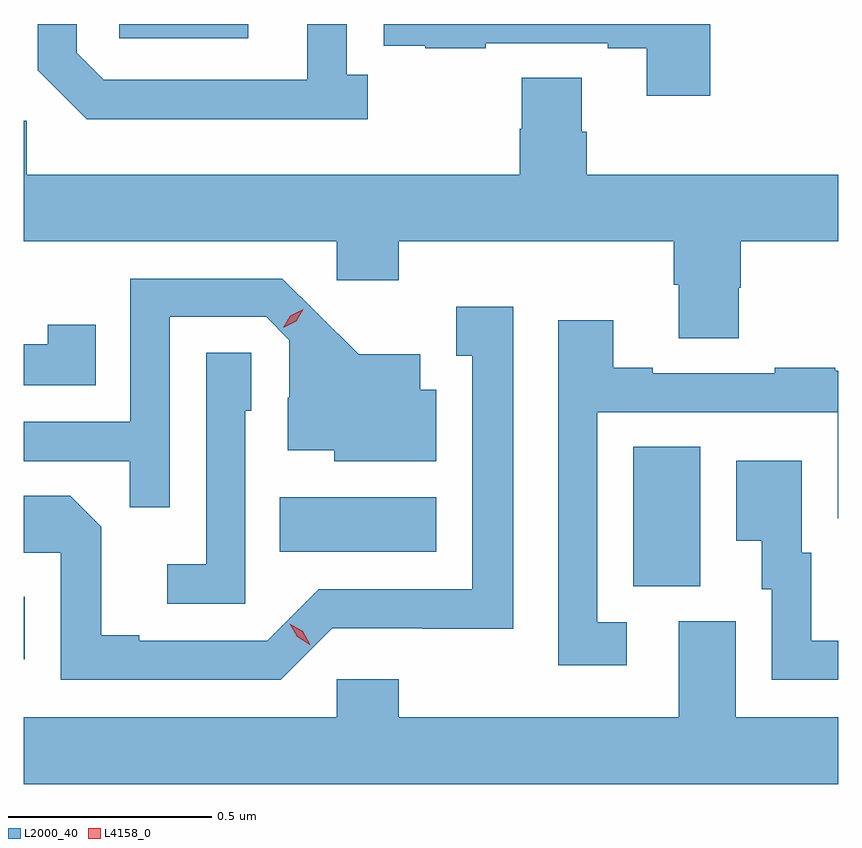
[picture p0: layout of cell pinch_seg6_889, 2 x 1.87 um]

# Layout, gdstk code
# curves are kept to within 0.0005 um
import gdstk
lib = gdstk.Library(unit=1e-6, precision=1e-09)
def R(c, l, rs):  # rectangles x0, y0, x1, y1
    for r in rs: c.add(gdstk.rectangle(r[:2], r[2:], *l))
def P(c, l, *ps):  # polygons
    for p in ps: c.add(gdstk.Polygon(p, *l))
L2000_40 = (2000, 40)
L4158_0 = (4158, 0)

pinch_seg6_889 = lib.new_cell('pinch_seg6_889')
R(pinch_seg6_889, L2000_40, [(159.827,979.61,159.829,979.764), (161.324,979.789,161.488,980.132), (160.456,979.874,160.84,980.008), (160.062,981.135,160.378,981.17)])
P(pinch_seg6_889, L2000_40, [(161.513,981.17),(160.711,981.17),(160.711,981.117),(160.813,981.117),(160.813,981.111),(160.961,981.111),(160.961,981.123),(161.261,981.123),(161.261,981.111),(161.357,981.111),(161.357,980.994),(161.513,980.994)],
  [(160.672,981.046),(160.62,981.046),(160.62,981.17),(160.523,981.17),(160.523,981.033),(160.023,981.033),(159.957,981.099),(159.957,981.17),(159.861,981.17),(159.861,981.057),(159.982,980.936),(160.672,980.936)],
  [(161.583,980.523),(161.588,980.523),(161.588,980.636),(161.827,980.636),(161.827,980.8),(161.21,980.8),(161.21,980.906),(161.197,980.906),(161.197,981.038),(161.05,981.038),(161.05,980.913),(161.045,980.913),(161.045,980.8),(159.834,980.8),(159.834,980.932),(159.827,980.932),(159.827,980.636),(160.596,980.636),(160.596,980.541),(160.748,980.541),(160.748,980.636),(161.423,980.636),(161.423,980.53),(161.435,980.53),(161.435,980.398),(161.583,980.398)],
  [(160.185,980.451),(160.422,980.451),(160.479,980.394),(160.479,980.252),(160.475,980.252),(160.475,980.123),(160.59,980.123),(160.59,980.096),(160.84,980.096),(160.84,980.272),(160.801,980.272),(160.801,980.359),(160.649,980.359),(160.462,980.544),(160.089,980.544),(160.089,980.193),(159.827,980.193),(159.827,980.097),(160.087,980.097),(160.087,979.984),(160.185,979.984)],
  [(160.584,979.686),(160.806,979.686),(160.806,979.685),(161.029,979.685),(161.029,980.476),(160.889,980.476),(160.889,980.355),(160.928,980.355),(160.928,979.782),(160.551,979.782),(160.425,979.656),(160.111,979.656),(160.111,979.669),(160.017,979.669),(160.017,979.936),(159.941,980.012),(159.827,980.012),(159.827,979.872),(159.918,979.872),(159.918,979.56),(160.458,979.56)],
  [(161.308,979.701),(161.235,979.701),(161.235,980.217),(161.826,980.217),(161.826,979.956),(161.827,979.956),(161.827,980.319),(161.819,980.319),(161.819,980.326),(161.671,980.326),(161.671,980.313),(161.371,980.313),(161.371,980.326),(161.275,980.326),(161.275,980.443),(161.139,980.443),(161.139,979.596),(161.308,979.596)],
  [(160.004,980.431),(159.886,980.431),(159.886,980.384),(159.827,980.384),(159.827,980.283),(160.004,980.283)],
  [(160.371,980.22),(160.386,980.22),(160.386,980.363),(160.275,980.363),(160.275,979.843),(160.179,979.843),(160.179,979.746),(160.371,979.746)],
  [(161.827,979.656),(161.761,979.656),(161.761,979.872),(161.737,979.872),(161.737,980.098),(161.576,980.098),(161.576,979.901),(161.639,979.901),(161.639,979.782),(161.664,979.782),(161.664,979.56),(161.827,979.56)],
  [(161.827,979.468),(161.575,979.468),(161.575,979.704),(161.435,979.704),(161.435,979.468),(160.748,979.468),(160.748,979.561),(160.596,979.561),(160.596,979.468),(159.827,979.468),(159.827,979.304),(161.827,979.304)])
P(pinch_seg6_889, L4158_0, [(160.529,979.646),(160.498,979.665),(160.48,979.698),(160.48,979.698),(160.48,979.698),(160.512,979.679),(160.53,979.646),(160.53,979.646)],
  [(160.464,980.424),(160.464,980.424),(160.482,980.454),(160.513,980.47),(160.513,980.47),(160.513,980.47),(160.496,980.44),(160.464,980.424)])

lib.write_gds('pinch_seg6_889.gds')
